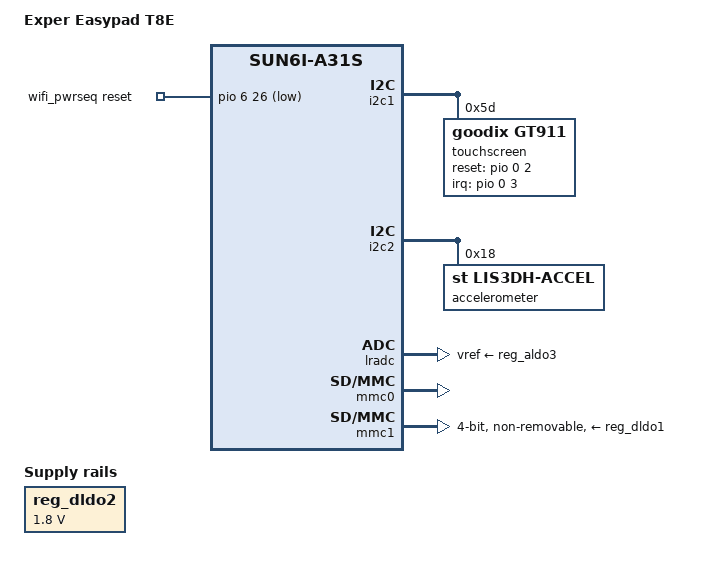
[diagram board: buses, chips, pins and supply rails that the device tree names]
// SPDX-License-Identifier: GPL-2.0+ OR X11
/*
 * Copyright 2026 mechres
 * Device Tree for Exper Easypad 8 (Model T8E)
 * Allwinner A31s quad-core tablet
 */

/dts-v1/;
#include "sun6i-a31s.dtsi"
#include "sun6i-reference-design-tablet.dtsi"

/ {
	model = "Exper Easypad T8E";
	compatible = "exper,easypad-t8e", "allwinner,sun6i-a31s";

	wifi_pwrseq: pwrseq {
		compatible = "mmc-pwrseq-simple";
		reset-gpios = <&pio 6 26 GPIO_ACTIVE_LOW>; /* PG26 */
	};
};

&i2c1 {
	status = "okay";

	touchscreen@5d {
		compatible = "goodix,gt911";
		reg = <0x5d>;
		interrupt-parent = <&pio>;
		interrupts = <0 3 IRQ_TYPE_LEVEL_HIGH>; /* PA3 */
		reset-gpios = <&pio 0 2 GPIO_ACTIVE_HIGH>; /* PA2 */
		touchscreen-swapped-x-y;
	};
};

&i2c2 {
	status = "okay";

	accelerometer@18 {
		compatible = "st,lis3dh-accel";
		reg = <0x18>;
	};
};

&lradc {
	vref-supply = <&reg_aldo3>;
	status = "okay";

	button-1000 {
		label = "Home";
		linux,code = <KEY_HOMEPAGE>;
		channel = <0>;
		voltage = <1000000>;
	};
};

&mmc0 {
	/delete-property/ vmmc-supply;
	/delete-property/ cd-gpios;
	broken-cd;
	status = "okay";
};

&mmc1 {
	vmmc-supply = <&reg_dldo1>;
	mmc-pwrseq = <&wifi_pwrseq>;
	bus-width = <4>;
	non-removable;
	status = "okay";
};

&reg_dldo2 {
	regulator-min-microvolt = <1800000>;
	regulator-max-microvolt = <1800000>;
	regulator-name = "vcc-pg";
	regulator-always-on;
};

&reg_dc1sw {
	regulator-always-on;
};

&simplefb_lcd {
	/delete-property/ vcc-lcd-supply;
	/delete-property/ vcc-pg-supply;
};
